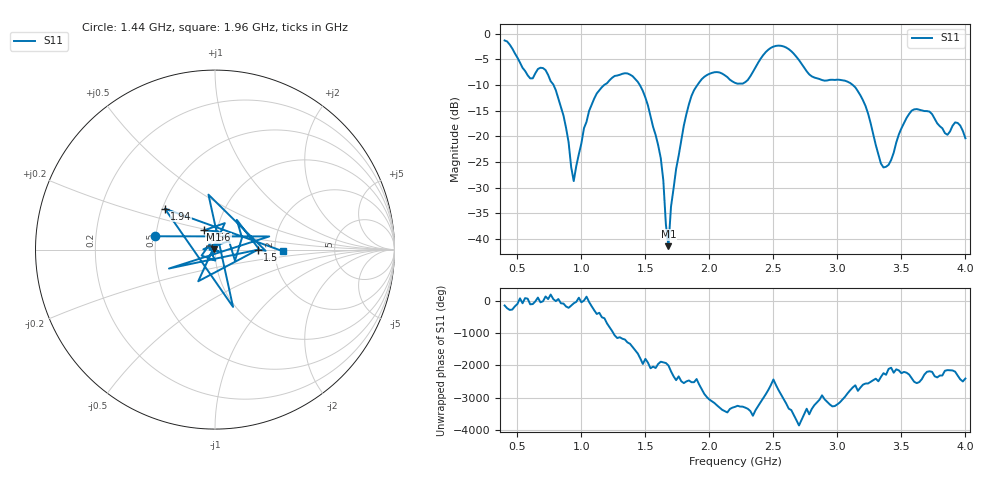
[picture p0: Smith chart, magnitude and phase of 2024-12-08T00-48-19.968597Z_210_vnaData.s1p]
!Created with skrf (http://scikit-rf.org).
# Hz S RI R 50.0
!freq ReS11 ImS11
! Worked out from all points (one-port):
!   181 points, 400 MHz to 4 GHz, reference 50 ohm
!   lowest |S11| = -41.4 dB at 1.68 GHz (marker M1), VSWR 1.02, Z = 49.2 + j0.351 ohm
!   |S11| at or under -10 dB: 782.4 MHz to 1.177 GHz (395 MHz wide, 40.3 % of centre); 1.456 GHz to 1.906 GHz (449.7 MHz wide, 26.7 % of centre); 3.121 GHz to end of sweep
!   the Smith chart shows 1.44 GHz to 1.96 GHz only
!   S11 on the Smith chart (normalised r, x): 1.44 GHz: 0.50, +0.08; 1.5 GHz: 1.63, -0.00; 1.56 GHz: 0.86, +0.19; 1.94 GHz: 0.51, +0.27; 1.96 GHz: 2.23, -0.05
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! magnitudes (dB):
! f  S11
! 400 MHz  -1.3
! 600 MHz  -8.7
! 720 MHz  -7.1
! 860 MHz  -15.9
! 940 MHz  -28.7
! 1.1 GHz  -12.6
! 1.3 GHz  -8.0
! 1.44 GHz  -9.4
! 1.5 GHz  -12.4
! 1.56 GHz  -18.1
! 1.62 GHz  -24.2
! 1.68 GHz  -41.4
! 1.7 GHz  -33.7
! 1.76 GHz  -23.8
! 1.84 GHz  -13.7
! 1.94 GHz  -8.9
! 1.96 GHz  -8.4
! 2.2 GHz  -9.6
! 2.48 GHz  -2.7
! 2.66 GHz  -3.9
! 2.8 GHz  -8.3
! 3.1 GHz  -9.6
! 3.22 GHz  -14.1
! 3.36 GHz  -26.1
! 3.56 GHz  -15.6
! 3.86 GHz  -19.7
! 3.94 GHz  -17.4
! 4 GHz  -20.4
